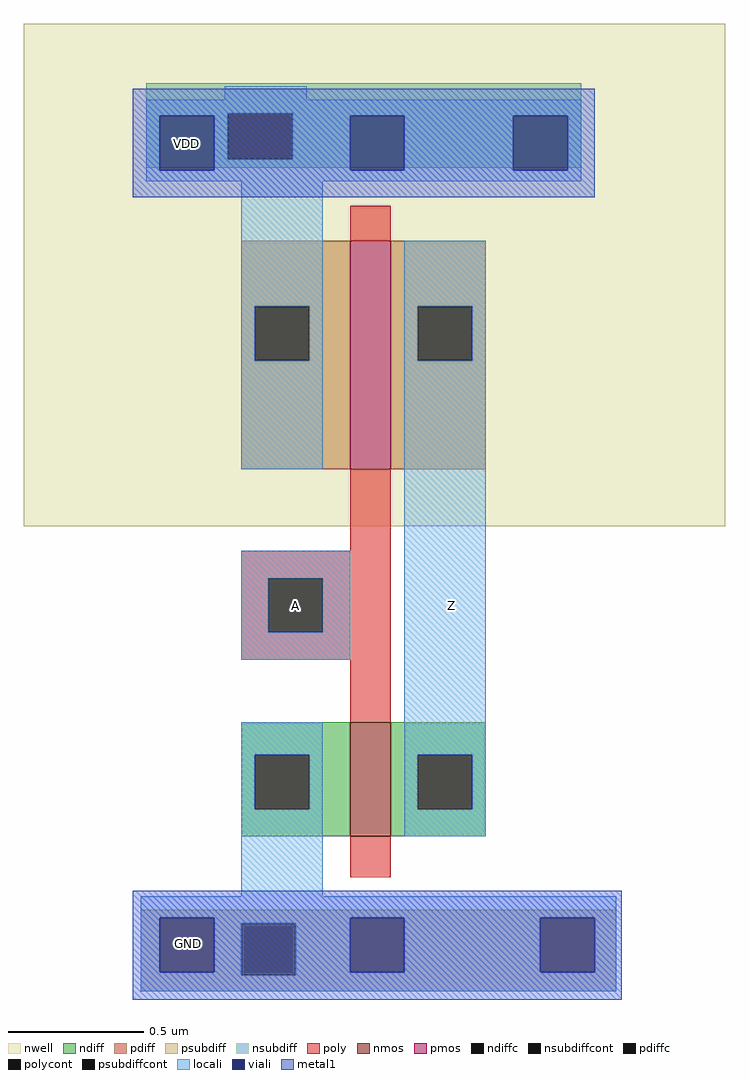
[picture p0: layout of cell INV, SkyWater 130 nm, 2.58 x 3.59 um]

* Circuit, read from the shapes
.subckt INV A Z VDD GND
XM1 Z A GND GND sky130_fd_pr__nfet_01v8 w=0.42 l=0.15
XM2 Z A VDD VDD sky130_fd_pr__pfet_01v8 w=0.84 l=0.15
.ends

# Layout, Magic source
magic
tech sky130A
<< nwell >>
rect 190 9 448 194
<< nmos >>
rect 310 -105 325 -63
<< pmos >>
rect 310 30 325 114
<< ndiff >>
rect 270 -75 310 -63
rect 270 -95 275 -75
rect 295 -95 310 -75
rect 270 -105 310 -95
rect 325 -75 360 -63
rect 325 -95 335 -75
rect 355 -95 360 -75
rect 325 -105 360 -95
<< pdiff >>
rect 270 90 310 114
rect 270 70 275 90
rect 295 70 310 90
rect 270 30 310 70
rect 325 90 360 114
rect 325 70 335 90
rect 355 70 360 90
rect 325 30 360 70
<< ndiffc >>
rect 275 -95 295 -75
rect 335 -95 355 -75
<< pdiffc >>
rect 275 70 295 90
rect 335 70 355 90
<< psubdiff >>
rect 233 -137 408 -132
rect 233 -156 270 -137
rect 290 -156 408 -137
rect 233 -162 408 -156
<< nsubdiff >>
rect 235 161 395 172
rect 235 144 265 161
rect 289 144 395 161
rect 235 141 395 144
<< psubdiffcont >>
rect 270 -156 290 -137
<< nsubdiffcont >>
rect 265 144 289 161
<< poly >>
rect 310 114 325 127
rect 310 0 325 30
rect 270 -10 325 0
rect 270 -30 280 -10
rect 300 -30 325 -10
rect 270 -40 325 -30
rect 310 -63 325 -40
rect 310 -120 325 -105
<< polycont >>
rect 280 -30 300 -10
<< locali >>
rect 264 166 294 171
rect 235 161 395 166
rect 235 160 265 161
rect 235 140 240 160
rect 260 144 265 160
rect 289 160 395 161
rect 289 144 310 160
rect 260 140 310 144
rect 330 140 370 160
rect 390 140 395 160
rect 235 136 395 140
rect 270 90 300 136
rect 270 70 275 90
rect 295 70 300 90
rect 270 30 300 70
rect 330 90 360 114
rect 330 70 335 90
rect 355 70 360 90
rect 270 -10 310 0
rect 270 -30 280 -10
rect 300 -30 310 -10
rect 270 -40 310 -30
rect 270 -75 300 -63
rect 270 -95 275 -75
rect 295 -95 300 -75
rect 270 -127 300 -95
rect 330 -75 360 70
rect 330 -95 335 -75
rect 355 -95 360 -75
rect 330 -105 360 -95
rect 233 -135 408 -127
rect 233 -155 240 -135
rect 260 -137 310 -135
rect 260 -155 270 -137
rect 233 -156 270 -155
rect 290 -155 310 -137
rect 330 -155 380 -135
rect 400 -155 408 -135
rect 290 -156 408 -155
rect 233 -162 408 -156
<< viali >>
rect 240 140 260 160
rect 310 140 330 160
rect 370 140 390 160
rect 240 -155 260 -135
rect 310 -155 330 -135
rect 380 -155 400 -135
<< metal1 >>
rect 230 160 400 170
rect 230 140 240 160
rect 260 140 310 160
rect 330 140 370 160
rect 390 140 400 160
rect 230 130 400 140
rect 230 -135 410 -125
rect 230 -155 240 -135
rect 260 -155 310 -135
rect 330 -155 380 -135
rect 400 -155 410 -135
rect 230 -165 410 -155
<< labels >>
rlabel viali 240 140 260 160 1 VDD
port 3 n
rlabel locali 270 -40 310 0 1 A
port 1 n
rlabel locali 335 -40 360 0 1 Z
port 2 n
rlabel psubdiff 238 -156 263 -133 1 GND
port 4 n
<< end >>
